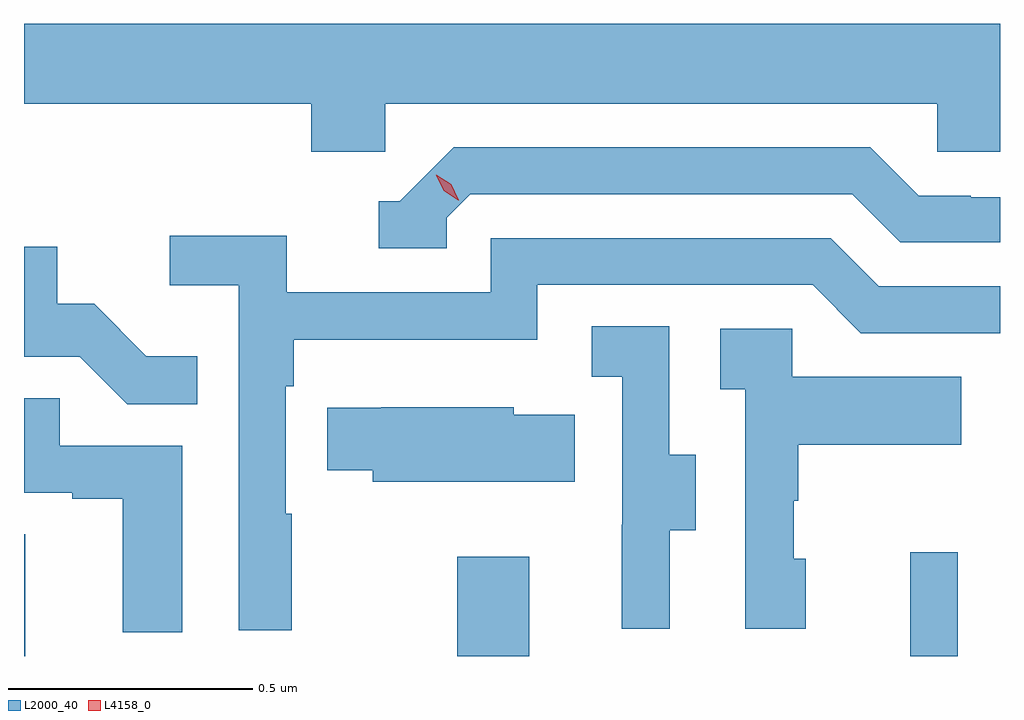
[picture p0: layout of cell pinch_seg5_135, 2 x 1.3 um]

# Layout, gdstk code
import gdstk
lib = gdstk.Library(unit=1e-6, precision=1e-09)
def R(c, l, rs):  # rectangles x0, y0, x1, y1
    for r in rs: c.add(gdstk.rectangle(r[:2], r[2:], *l))
def P(c, l, *ps):  # polygons
    for p in ps: c.add(gdstk.Polygon(p, *l))
L2000_40 = (2000, 40)
L4158_0 = (4158, 0)

pinch_seg5_135 = lib.new_cell('pinch_seg5_135')
R(pinch_seg5_135, L2000_40, [(1066.702,888.928,1066.705,889.178), (1067.59,888.928,1067.737,889.132), (1068.518,888.928,1068.615,889.141)])
P(pinch_seg5_135, L2000_40, [(1067.442,890.06),(1068.573,890.06),(1068.573,889.962),(1068.702,889.962),(1068.702,890.224),(1066.702,890.224),(1066.702,890.06),(1067.291,890.06),(1067.291,889.962),(1067.442,889.962)],
  [(1067.568,889.827),(1067.616,889.875),(1068.399,889.875),(1068.498,889.776),(1068.702,889.776),(1068.702,889.869),(1068.642,889.869),(1068.642,889.872),(1068.535,889.872),(1068.436,889.971),(1067.583,889.971),(1067.472,889.86),(1067.429,889.86),(1067.429,889.764),(1067.568,889.764)],
  [(1067.251,889.22),(1067.238,889.22),(1067.238,889.481),(1067.255,889.481),(1067.255,889.577),(1067.754,889.577),(1067.754,889.689),(1068.318,889.689),(1068.417,889.59),(1068.702,889.59),(1068.702,889.686),(1068.454,889.686),(1068.355,889.785),(1067.658,889.785),(1067.658,889.674),(1067.24,889.674),(1067.24,889.79),(1067.001,889.79),(1067.001,889.688),(1067.142,889.688),(1067.142,888.981),(1067.251,888.981)],
  [(1067.057,889.543),(1066.953,889.543),(1066.846,889.65),(1066.77,889.65),(1066.77,889.767),(1066.702,889.767),(1066.702,889.542),(1066.816,889.542),(1066.914,889.444),(1067.057,889.444)],
  [(1068.025,889.186),(1068.079,889.186),(1068.079,889.341),(1068.024,889.341),(1068.024,889.604),(1067.865,889.604),(1067.865,889.501),(1067.928,889.501),(1067.928,889.197),(1067.927,889.197),(1067.927,888.984),(1068.025,888.984)],
  [(1068.304,889.128),(1068.279,889.128),(1068.279,889.247),(1068.289,889.247),(1068.289,889.361),(1068.623,889.361),(1068.623,889.501),(1068.276,889.501),(1068.276,889.599),(1068.129,889.599),(1068.129,889.475),(1068.18,889.475),(1068.18,888.984),(1068.304,888.984)],
  [(1067.026,889.359),(1066.775,889.359),(1066.775,889.457),(1066.702,889.457),(1066.702,889.263),(1066.801,889.263),(1066.801,889.251),(1066.904,889.251),(1066.904,888.977),(1067.026,888.977)],
  [(1067.831,889.423),(1067.706,889.423),(1067.706,889.438),(1067.434,889.438),(1067.434,889.437),(1067.323,889.437),(1067.323,889.309),(1067.417,889.309),(1067.417,889.286),(1067.831,889.286)])
P(pinch_seg5_135, L4158_0, [(1067.592,889.862),(1067.562,889.882),(1067.547,889.914),(1067.547,889.915),(1067.547,889.915),(1067.577,889.895),(1067.593,889.862),(1067.593,889.862)])

lib.write_gds('pinch_seg5_135.gds')
